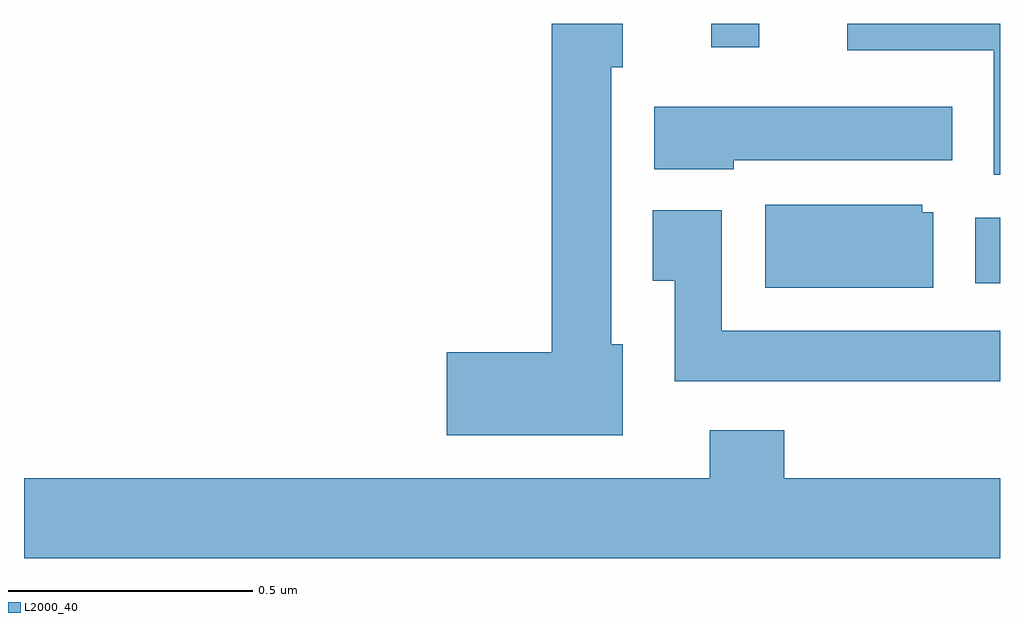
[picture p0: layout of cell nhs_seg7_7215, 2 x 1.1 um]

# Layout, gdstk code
import gdstk
lib = gdstk.Library(unit=1e-6, precision=1e-09)
def R(c, l, rs):  # rectangles x0, y0, x1, y1
    for r in rs: c.add(gdstk.rectangle(r[:2], r[2:], *l))
def P(c, l, *ps):  # polygons
    for p in ps: c.add(gdstk.Polygon(p, *l))
L2000_40 = (2000, 40)

nhs_seg7_7215 = lib.new_cell('nhs_seg7_7215')
R(nhs_seg7_7215, L2000_40, [(209.949,1046.468,210,1046.602), (209.408,1046.952,209.507,1047)])
P(nhs_seg7_7215, L2000_40, [(209.227,1046.343),(209.203,1046.343),(209.203,1046.91),(209.227,1046.91),(209.227,1047),(209.081,1047),(209.081,1046.327),(208.866,1046.327),(208.866,1046.156),(209.227,1046.156)],
  [(210,1047),(209.687,1047),(209.687,1046.945),(209.987,1046.945),(209.987,1046.69),(210,1046.69)],
  [(209.454,1046.72),(209.902,1046.72),(209.902,1046.83),(209.292,1046.83),(209.292,1046.702),(209.454,1046.702)],
  [(209.863,1046.613),(209.841,1046.613),(209.841,1046.629),(209.519,1046.629),(209.519,1046.459),(209.863,1046.459)],
  [(210,1046.371),(209.43,1046.371),(209.43,1046.617),(209.288,1046.617),(209.288,1046.473),(209.333,1046.473),(209.333,1046.267),(210,1046.267)],
  [(210,1046.068),(209.558,1046.068),(209.558,1046.167),(209.405,1046.167),(209.405,1046.068),(208,1046.068),(208,1045.904),(210,1045.904)])

lib.write_gds('nhs_seg7_7215.gds')
